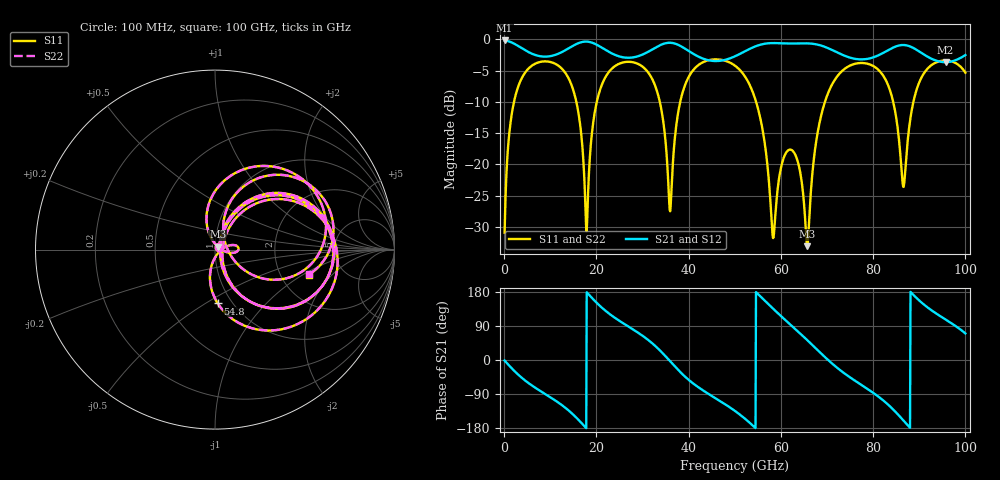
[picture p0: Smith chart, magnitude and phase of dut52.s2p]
! Touchstone file exported from HFSS 2026.1.0
!  File:  C:/ffzhzh/LocalFiles/Ansys_Project_Files/temp_train_TSV_RDL_52_1783621571_26216.aedt
!  Generated:  02:43:13 AM Jul 10, 2026
!  Design:  TSV_RDL
!  Project:  temp_train_TSV_RDL_52_1783621571_26216
! Variables:
!  h_bsmrdl = 2.53um
!  h_ox = 20um
!  h_rdl = 5um
!  h_sub = 55.52um
!  h_tmrdl = 3.26um
!  h_tsv = 55.52um
!  h_via = 3um
!  l_bsmrdl = 569.53um
!  l_sub = 3634.32um
!  l_tmrdl = 352.37um
!  m_sub = 200um
!  pitch = 58.63um
!  r_tsv = 6.4um
!  s_tmrdl = 10um
!  w_bsmrdl = 15.96um
!  w_sub = 500um
!  w_tmrdl = 22.79um
!  x_tsv_center1 = 363.765um
!  x_tsv_center2 = 949.255um
!  x_tsv_center3 = 1324.415um
!  x_tsv_center4 = 1909.905um
!  x_tsv_center5 = 2285.065um
!  x_tsv_center6 = 2870.555um
# GHz S MA R 50.000000
! Terminal data exported
! Port[1] = TM_RDL1_1_T1
! Port[2] = TM_RDL5_1_T1
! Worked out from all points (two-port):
!   1000 points, 100 MHz to 100 GHz, reference 50 ohm
!   highest |S21| = -0.20 dB at 100 MHz (marker M1); lowest = -3.7 dB at 95.7 GHz (marker M2)
!   |S21| within 3 dB of the highest: start of sweep to 43.51 GHz; 48.37 GHz to 76.77 GHz (28.4 GHz wide, 45.4 % of centre) (the widest 2 of 4)
!   lowest |S11| = -33.0 dB at 65.7 GHz (marker M3), VSWR 1.05, Z = 51.6 + j1.62 ohm
!   |S11| at or under -10 dB: 15.65 GHz to 20.09 GHz (4.44 GHz wide, 24.9 % of centre); 33.75 GHz to 38.18 GHz (4.429 GHz wide, 12.3 % of centre); 54.62 GHz to 69.55 GHz (14.93 GHz wide, 24.1 % of centre) (the widest 3 of 5)
!   |S22| runs from -32.8 to -3.2 dB; largest |S21 - S12| = 4.4e-13
!   S11 on the Smith chart (normalised r, x): 100 MHz: 1.05, +0.03; 54.8 GHz: 0.86, -0.57; 100 GHz: 2.85, -1.13
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0.1  0.0286 34.7  0.9768 -1.4  0.9768 -1.4  0.0286 34.7
! Gamma 0 0 0 0
! Port Impedance 50 0 50 0
1.8  0.2728 60.4  0.9353 -23.9  0.9353 -23.9  0.2728 60.4
5.5  0.5932 25.0  0.7813 -62.8  0.7813 -62.8  0.5932 25.1
13.2  0.5425 -35.0  0.8139 -125.4  0.8139 -125.4  0.5425 -34.9
16.8  0.1617 -68.0  0.9474 -166.6  0.9474 -166.6  0.1617 -67.9
17.9  0.02939 11.1  0.9564 178.7  0.9564 178.7  0.02975 11.0
22.7  0.547 30.2  0.7925 122.9  0.7925 122.9  0.547 30.2
33.4  0.3564 -55.5  0.8801 29.8  0.8801 29.8  0.3564 -55.4
36  0.04234 2.4  0.9361 -3.6  0.9361 -3.6  0.04274 2.5
39.9  0.4906 34.4  0.8097 -51.3  0.8097 -51.3  0.4907 34.4
50.1  0.6125 -43.6  0.7316 -134.9  0.7316 -134.9  0.6126 -43.5
54.8  0.3003 -87.1  0.8855 176.8  0.8855 176.8  0.3004 -86.9
58.3  0.02584 -45.3  0.9306 135.5  0.9306 135.5  0.02648 -45.1
62.1  0.1314 1.7  0.9232 93.0  0.9232 93.0  0.1314 1.7
65.7  0.02228 44.7  0.9256 52.7  0.9256 52.7  0.02282 44.8
66.7  0.0755 109.4  0.9206 41.0  0.9206 41.0  0.07572 108.9
72.4  0.5153 64.0  0.7777 -22.5  0.7777 -22.5  0.5153 63.9
83.4  0.4147 -23.2  0.8225 -119.5  0.8225 -119.5  0.4148 -23.2
86.6  0.06618 24.0  0.8983 -160.1  0.8983 -160.1  0.06593 24.0
89.7  0.424 62.5  0.8103 160.2  0.8103 160.2  0.424 62.6
95.7  0.6761 16.5  0.6554 106.8  0.6554 106.8  0.6762 16.6
100  0.5398 -15.1  0.7472 70.1  0.7472 70.1  0.54 -14.8
